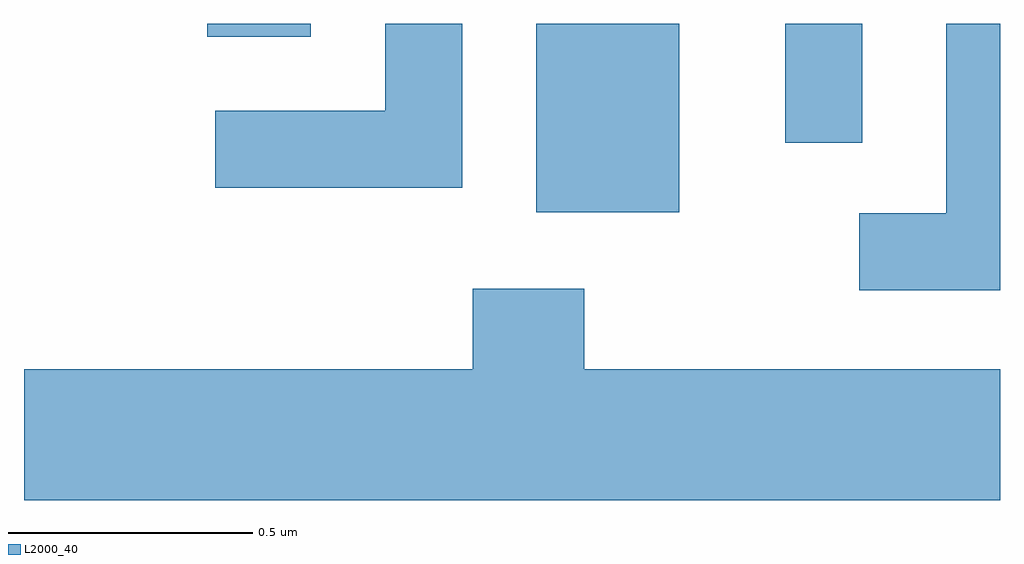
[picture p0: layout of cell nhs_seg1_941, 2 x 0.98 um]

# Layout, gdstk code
import gdstk
lib = gdstk.Library(unit=1e-6, precision=1e-09)
def R(c, l, rs):  # rectangles x0, y0, x1, y1
    for r in rs: c.add(gdstk.rectangle(r[:2], r[2:], *l))
def P(c, l, *ps):  # polygons
    for p in ps: c.add(gdstk.Polygon(p, *l))
L2000_40 = (2000, 40)

nhs_seg1_941 = lib.new_cell('nhs_seg1_941')
R(nhs_seg1_941, L2000_40, [(192.661,962.326,192.954,962.712), (193.171,962.468,193.329,962.712), (191.986,962.686,192.199,962.712)])
P(nhs_seg1_941, L2000_40, [(193.611,962.712),(193.501,962.712),(193.501,962.324),(193.323,962.324),(193.323,962.166),(193.611,962.166)],
  [(192.509,962.712),(192.351,962.712),(192.351,962.534),(192.003,962.534),(192.003,962.376),(192.509,962.376)],
  [(193.611,962.004),(192.759,962.004),(192.759,962.169),(192.531,962.169),(192.531,962.004),(191.611,962.004),(191.611,961.736),(193.611,961.736)])

lib.write_gds('nhs_seg1_941.gds')
